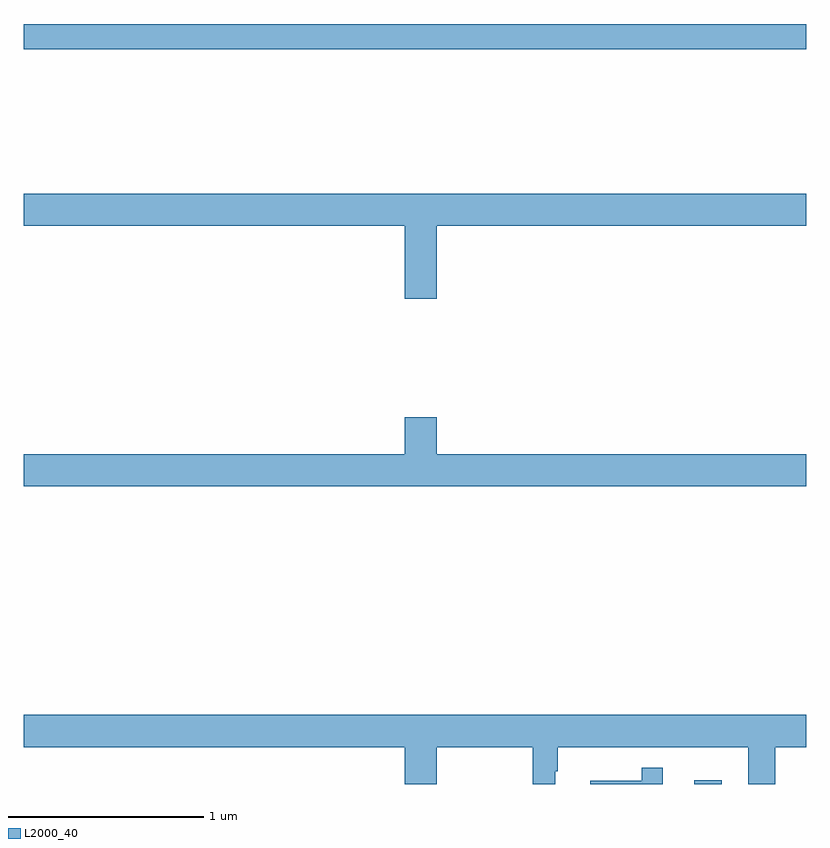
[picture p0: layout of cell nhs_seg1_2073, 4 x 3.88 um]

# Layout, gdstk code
import gdstk
lib = gdstk.Library(unit=1e-6, precision=1e-09)
def R(c, l, rs):  # rectangles x0, y0, x1, y1
    for r in rs: c.add(gdstk.rectangle(r[:2], r[2:], *l))
def P(c, l, *ps):  # polygons
    for p in ps: c.add(gdstk.Polygon(p, *l))
L2000_40 = (2000, 40)

nhs_seg1_2073 = lib.new_cell('nhs_seg1_2073')
R(nhs_seg1_2073, L2000_40, [(226.427,562.199,226.567,562.219), (223,565.954,227,566.083)])
P(nhs_seg1_2073, L2000_40, [(225.112,565.052),(227,565.052),(227,565.216),(223,565.216),(223,565.052),(224.948,565.052),(224.948,564.678),(225.112,564.678)],
  [(227,563.884),(225.112,563.884),(225.112,564.073),(224.948,564.073),(224.948,563.884),(223,563.884),(223,563.72),(227,563.72)],
  [(223,562.388),(224.948,562.388),(224.948,562.199),(225.112,562.199),(225.112,562.388),(225.601,562.388),(225.601,562.199),(225.718,562.199),(225.718,562.265),(225.73,562.265),(225.73,562.388),(226.703,562.388),(226.703,562.199),(226.842,562.199),(226.842,562.388),(227,562.388),(227,562.552),(223,562.552)],
  [(226.267,562.282),(226.158,562.282),(226.158,562.216),(225.896,562.216),(225.896,562.199),(226.267,562.199)])

lib.write_gds('nhs_seg1_2073.gds')
